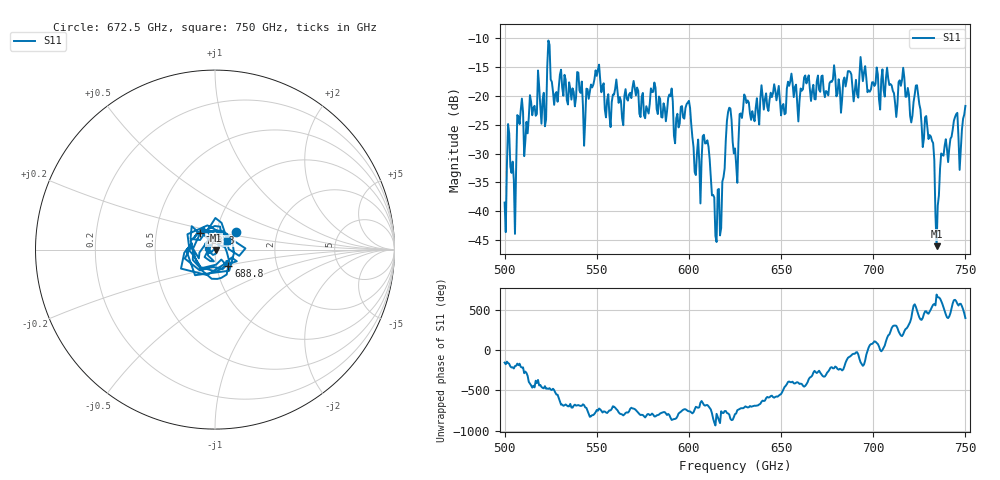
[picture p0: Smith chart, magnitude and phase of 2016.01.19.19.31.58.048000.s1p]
!Created with skrf (http://scikit-rf.org).
# GHz S RI R 50.0
!freq ReS11 ImS11
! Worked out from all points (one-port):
!   401 points, 500 GHz to 750 GHz, reference 50 ohm
!   lowest |S11| = -46.1 dB at 734.4 GHz (marker M1), VSWR 1.01, Z = 50.4 - j0.251 ohm
!   |S11| at or under -10 dB: start of sweep to end of sweep
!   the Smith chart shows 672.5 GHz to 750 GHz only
!   S11 on the Smith chart (normalised r, x): 672.5 GHz: 1.23, +0.24; 688.8 GHz: 1.14, -0.21; 723.8 GHz: 0.84, +0.16; 750 GHz: 1.13, +0.12
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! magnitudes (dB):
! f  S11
! 500 GHz  -38.5
! 502.5 GHz  -26.5
! 505 GHz  -34.6
! 508.1 GHz  -24.9
! 521.2 GHz  -19.5
! 524.4 GHz  -11.2
! 527.5 GHz  -19.7
! 531.2 GHz  -18.6
! 562.5 GHz  -20.2
! 580.6 GHz  -19.3
! 593.8 GHz  -23.1
! 599.4 GHz  -21.2
! 605 GHz  -27.6
! 609.4 GHz  -28.2
! 615.6 GHz  -36.3
! 621.9 GHz  -22.1
! 625 GHz  -29.1
! 630.6 GHz  -20.2
! 656.2 GHz  -17.8
! 672.5 GHz  -16.5
! 687.5 GHz  -15.8
! 688.8 GHz  -18.7
! 718.8 GHz  -18.6
! 723.8 GHz  -18.2
! 731.9 GHz  -27.8
! 734.4 GHz  -46.1
! 738.1 GHz  -30.4
! 750 GHz  -21.7
